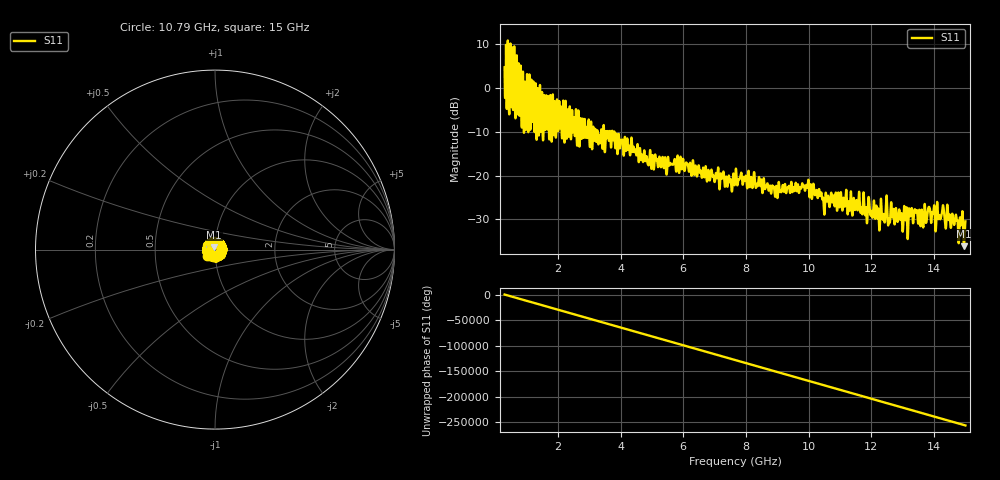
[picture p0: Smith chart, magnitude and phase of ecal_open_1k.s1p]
# GHZ S RI R 50.0
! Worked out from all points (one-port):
!   12801 points, 300 MHz to 15 GHz, reference 50 ohm
!   lowest |S11| = -36.1 dB at 14.96 GHz (marker M1), VSWR 1.03, Z = 49.5 + j1.49 ohm
!   |S11| at or under -10 dB: 3.264 GHz to 3.378 GHz (114.9 MHz wide, 3.46 % of centre); 3.471 GHz to 3.533 GHz (62.18 MHz wide, 1.78 % of centre); 3.799 GHz to end of sweep (the widest 3 of 36)
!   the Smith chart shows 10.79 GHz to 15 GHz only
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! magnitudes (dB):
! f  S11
! 300 MHz  4.7
! 387.3 MHz  -0.3
! 511.3 MHz  -4.1
! 546.9 MHz  7.3
! 581.4 MHz  -4.6
! 707.7 MHz  -4.4
! 747.9 MHz  3.8
! 911 MHz  -9.7
! 1.153 GHz  1.9
! 1.322 GHz  -11.8
! 1.626 GHz  -2.3
! 1.745 GHz  -8.3
! 2.034 GHz  -4.6
! 2.138 GHz  -11.4
! 3.975 GHz  -13.8
! 4.848 GHz  -16.6
! 5.812 GHz  -15.8
! 7.372 GHz  -20.3
! 7.65 GHz  -21.5
! 8.957 GHz  -22.9
! 9.488 GHz  -23.7
! 9.933 GHz  -22.3
! 10.46 GHz  -25.0
! 11.32 GHz  -26.5
! 13.16 GHz  -34.3
! 14.27 GHz  -27.6
! 14.96 GHz  -36.1
! 15 GHz  -30.4
